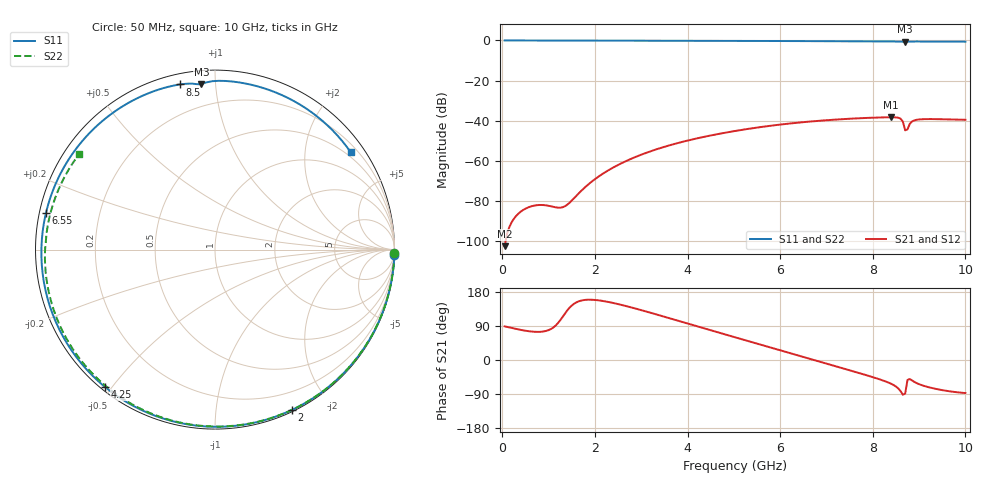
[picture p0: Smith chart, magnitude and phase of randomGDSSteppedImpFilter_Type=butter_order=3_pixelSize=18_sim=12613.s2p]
! freq	dB(S11)	phase(S11)	dB(S12)	phase(S12)
!  dB(S21)	phase(S21)	dB(S22)	phase(S22)
!S-par simulation data
#  GHz  S  DB  R 50
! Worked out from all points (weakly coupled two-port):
!   200 points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, 50 MHz to 10 GHz, reference 50 ohm
!   highest |S21| = -38.23 dB at 8.4 GHz (marker M1); lowest = -102.4 dB at 50 MHz (marker M2)
!   lowest |S11| = -0.7 dB at 8.7 GHz (marker M3), VSWR 25.54, Z = 3.61 + j45.9 ohm
!   |S11| at or under -10 dB: nowhere
!   |S22| runs from -0.7 to 0.0 dB; largest |S21 - S12| = 0
!   S11 on the Smith chart (normalised r, x): 50 MHz: 1, -68; 2 GHz: 0.02, -1.58; 4.25 GHz: 0.01, -0.48; 6.55 GHz: 0.02, +0.11; 8.5 GHz: 0.05, +0.81; 10 GHz: 0.38, +3.06
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0.05  -0.00 -1.7  -102.37 88.8  -102.37 88.8  -0.00 -1.2
0.7  -0.03 -23.2  -82.13 74.4  -82.13 74.4  -0.02 -16.0
1.45  -0.06 -47.4  -80.80 137.7  -80.80 137.7  -0.04 -32.9
1.75  -0.07 -56.8  -73.84 157.9  -73.84 157.9  -0.05 -39.6
2  -0.08 -64.5  -69.03 158.5  -69.03 158.5  -0.06 -45.0
2.6  -0.10 -82.5  -60.81 144.6  -60.81 144.6  -0.07 -58.0
3.4  -0.13 -105.4  -53.64 117.7  -53.64 117.7  -0.10 -74.8
4.25  -0.17 -128.8  -48.49 87.4  -48.49 87.4  -0.13 -92.1
5.05  -0.21 -150.4  -44.96 59.1  -44.96 59.1  -0.17 -108.0
5.8  -0.26 -170.8  -42.42 32.5  -42.42 32.5  -0.21 -122.7
6.55  -0.32 167.8  -40.55 6.0  -40.55 6.0  -0.26 -137.4
6.7  -0.33 163.4  -40.24 0.8  -40.24 0.8  -0.28 -140.4
7.5  -0.40 138.2  -38.95 -27.1  -38.95 -27.1  -0.35 -156.5
8.35  -0.49 107.8  -38.24 -60.1  -38.24 -60.1  -0.44 -174.6
8.4  -0.50 105.9  -38.23 -62.9  -38.23 -62.9  -0.45 -175.7
8.5  -0.53 101.9  -38.30 -69.9  -38.30 -69.9  -0.46 -178.0
8.65  -0.66 96.1  -40.41 -91.7  -40.41 -91.7  -0.49 178.6
8.7  -0.68 94.7  -44.73 -88.5  -44.73 -88.5  -0.51 177.5
8.85  -0.53 88.7  -40.28 -54.2  -40.28 -54.2  -0.51 174.1
8.95  -0.52 84.3  -39.46 -61.2  -39.46 -61.2  -0.52 171.7
9.45  -0.57 61.9  -39.19 -78.4  -39.19 -78.4  -0.59 159.5
10  -0.63 35.7  -39.47 -87.3  -39.47 -87.3  -0.67 144.9
